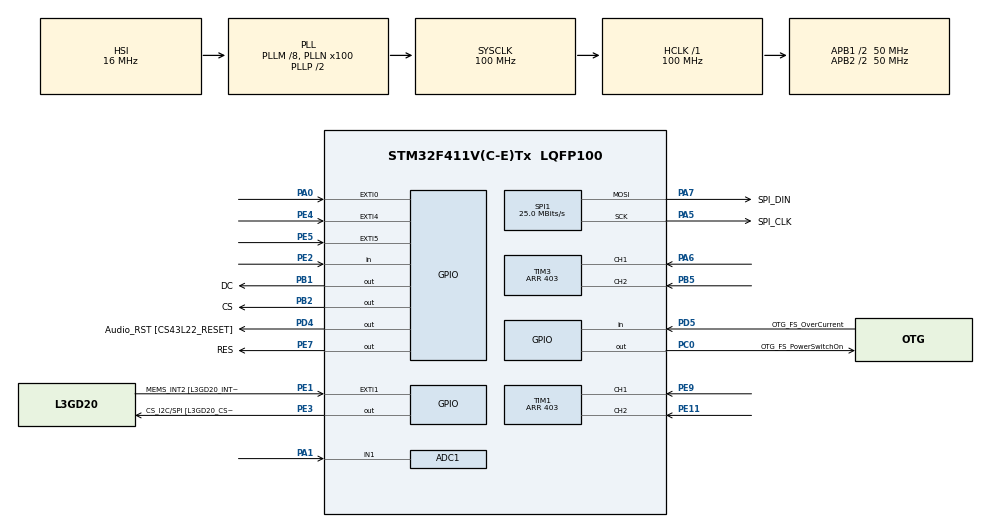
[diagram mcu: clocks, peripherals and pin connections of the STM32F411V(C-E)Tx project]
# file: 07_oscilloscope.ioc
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ADC1.Channel-0\#ChannelRegularConversion=ADC_CHANNEL_1
ADC1.ContinuousConvMode=ENABLE
ADC1.NbrOfConversionFlag=1
ADC1.Rank-0\#ChannelRegularConversion=1
ADC1.Resolution=ADC_RESOLUTION_8B
ADC1.SamplingTime-0\#ChannelRegularConversion=ADC_SAMPLETIME_112CYCLES
ADC1.ScanConvMode=DISABLE
ADC1.master=1
Mcu.Family=STM32F4
Mcu.Name=STM32F411V(C-E)Tx
Mcu.Package=LQFP100
NVIC.ADC_IRQn=true\:0\:0\:false\:false\:true\:true\:true\:true
NVIC.PriorityGroup=NVIC_PRIORITYGROUP_0
PA0-WKUP.GPIO_ModeDefaultEXTI=GPIO_MODE_EVT_RISING
PA0-WKUP.Signal=GPXTI0
PA1.Signal=ADCx_IN1
PA10.GPIO_Label=OTG_FS_ID
PA10.Signal=USB_OTG_FS_ID
PA11.GPIO_Label=OTG_FS_DM
PA11.Signal=USB_OTG_FS_DM
PA12.GPIO_Label=OTG_FS_DP
PA12.Signal=USB_OTG_FS_DP
PA13.GPIO_Label=SWDIO
PA13.Signal=SYS_JTMS-SWDIO
PA14.GPIO_Label=SWCLK
PA14.Signal=SYS_JTCK-SWCLK
PA5.GPIO_Label=SPI_CLK
PA5.Mode=TX_Only_Simplex_Unidirect_Master
PA5.Signal=SPI1_SCK
PA6.Signal=S_TIM3_CH1
PA7.GPIO_Label=SPI_DIN
PA7.Mode=TX_Only_Simplex_Unidirect_Master
PA7.Signal=SPI1_MOSI
PA9.GPIO_Label=VBUS_FS
PA9.Signal=USB_OTG_FS_VBUS
PB1.GPIO_Label=DC
PB1.Signal=GPIO_Output
PB10.GPIO_Label=CLK_IN [MP45DT02_CLK]
PB10.Signal=I2S2_CK
PB12.Signal=I2S2_WS
PB2.GPIO_Label=CS
PB2.Signal=GPIO_Output
PB3.GPIO_Label=SWO
PB3.Signal=SYS_JTDO-SWO
PB5.Signal=S_TIM3_CH2
PB6.GPIO_Label=Audio_SCL [CS43L22_SCL]
PB6.GPIO_Mode=GPIO_MODE_AF_OD
PB6.GPIO_PuPd=GPIO_NOPULL
PB6.GPIO_Speed=GPIO_SPEED_FREQ_LOW
PB6.Signal=I2C1_SCL
PB9.GPIO_Label=Audio_SDA [CS43L22_SDA]
PB9.GPIO_Mode=GPIO_MODE_AF_OD
PB9.GPIO_PuPd=GPIO_NOPULL
PB9.GPIO_Speed=GPIO_SPEED_FREQ_LOW
PB9.Signal=I2C1_SDA
PC0.GPIO_Label=OTG_FS_PowerSwitchOn
PC0.PinState=GPIO_PIN_SET
PC0.Signal=GPIO_Output
PC10.GPIO_Label=I2S3_SCK [CS43L22_SCLK]
PC10.GPIO_Mode=GPIO_MODE_AF_PP
PC10.GPIO_PuPd=GPIO_NOPULL
PC10.GPIO_Speed=GPIO_SPEED_FREQ_LOW
PC10.Signal=I2S3_CK
PC12.GPIO_Label=I2S3_SD [CS43L22_SDIN]
PC12.GPIO_Mode=GPIO_MODE_AF_PP
PC12.GPIO_PuPd=GPIO_NOPULL
PC12.GPIO_Speed=GPIO_SPEED_FREQ_LOW
PC12.Signal=I2S3_SD
PC14-OSC32_IN.GPIO_Label=PC14-OSC32_IN
PC14-OSC32_IN.Signal=RCC_OSC32_IN
PC15-OSC32_OUT.GPIO_Label=PC15-OSC32_OUT
PC15-OSC32_OUT.Signal=RCC_OSC32_OUT
PC3.GPIO_Label=PDM_OUT [MP45DT02_DOUT]
PC3.Signal=I2S2_SD
PC7.GPIO_Label=I2S3_MCK [CS43L22_MCLK]
PC7.GPIO_Mode=GPIO_MODE_AF_PP
PC7.GPIO_PuPd=GPIO_NOPULL
PC7.GPIO_Speed=GPIO_SPEED_FREQ_LOW
PC7.Signal=I2S3_MCK
PD4.GPIO_Label=Audio_RST [CS43L22_RESET]
PD4.Signal=GPIO_Output
PD5.GPIO_Label=OTG_FS_OverCurrent
PD5.Signal=GPIO_Input
PE1.GPIO_Label=MEMS_INT2 [L3GD20_INT2]
PE1.GPIO_ModeDefaultEXTI=GPIO_MODE_EVT_RISING
PE1.Signal=GPXTI1
PE11.Signal=S_TIM1_CH2
PE2.Signal=GPIO_Input
PE3.GPIO_Label=CS_I2C/SPI [L3GD20_CS_I2C/SPI]
PE3.Signal=GPIO_Output
PE4.GPIO_ModeDefaultEXTI=GPIO_MODE_EVT_RISING
PE4.Signal=GPXTI4
PE5.GPIO_ModeDefaultEXTI=GPIO_MODE_EVT_RISING
PE5.Signal=GPXTI5
PE7.GPIO_Label=RES
PE7.Signal=GPIO_Output
PE9.Signal=S_TIM1_CH1
PH0\ -\ OSC_IN.GPIO_Label=PH0-OSC_IN
PH0\ -\ OSC_IN.Signal=RCC_OSC_IN
PH1\ -\ OSC_OUT.GPIO_Label=PH1-OSC_OUT
PH1\ -\ OSC_OUT.Signal=RCC_OSC_OUT
ProjectManager.HeapSize=0x200
ProjectManager.StackSize=0x400
ProjectManager.TargetToolchain=STM32CubeIDE
RCC.48MHZClocksFreq_Value=25000000
RCC.AHBFreq_Value=100000000
RCC.APB1CLKDivider=RCC_HCLK_DIV2
RCC.APB1Freq_Value=50000000
RCC.APB1TimFreq_Value=100000000
RCC.APB2CLKDivider=RCC_HCLK_DIV2
RCC.APB2Freq_Value=50000000
RCC.APB2TimFreq_Value=100000000
RCC.CortexFreq_Value=100000000
RCC.HCLKFreq_Value=100000000
RCC.HSE_VALUE=8000000
RCC.HSI_VALUE=16000000
RCC.LSE_VALUE=32768
RCC.PLLI2SM=5
RCC.PLLI2SN=200
RCC.PLLM=8
RCC.PLLN=100
RCC.PLLQ=8
RCC.SYSCLKFreq_VALUE=100000000
RCC.SYSCLKSource=RCC_SYSCLKSOURCE_PLLCLK
RCC.VCOOutputFreq_Value=200000000
SH.ADCx_IN1.0=ADC1_IN1,IN1
SH.S_TIM1_CH1.0=TIM1_CH1,Encoder_Interface
SH.S_TIM1_CH2.0=TIM1_CH2,Encoder_Interface
SH.S_TIM3_CH1.0=TIM3_CH1,Encoder_Interface
SH.S_TIM3_CH2.0=TIM3_CH2,Encoder_Interface
SPI1.CLKPhase=SPI_PHASE_2EDGE
SPI1.CLKPolarity=SPI_POLARITY_HIGH
SPI1.CalculateBaudRate=25.0 MBits/s
SPI1.Direction=SPI_DIRECTION_2LINES
SPI1.Mode=SPI_MODE_MASTER
SPI1.VirtualType=VM_MASTER
TIM1.EncoderMode=TIM_ENCODERMODE_TI12
TIM1.IC1Filter=15
TIM1.IC2Filter=15
TIM1.Period=403
TIM3.EncoderMode=TIM_ENCODERMODE_TI12
TIM3.IC1Filter=15
TIM3.IC2Filter=15
TIM3.Period=403
board=STM32F411E-DISCO

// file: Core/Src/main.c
/* USER CODE BEGIN Header */
/**
  ******************************************************************************
  * @file           : main.c
  * @brief          : Main program body
  ******************************************************************************
  * @attention
  *
  * Copyright (c) 2023 STMicroelectronics.
  * All rights reserved.
  *
  * This software is licensed under terms that can be found in the LICENSE file
  * in the root directory of this software component.
  * If no LICENSE file comes with this software, it is provided AS-IS.
  *
  ******************************************************************************
  */
/* USER CODE END Header */
#include "main.h"

/* USER CODE BEGIN Includes */
#include "SSD1331.h"
/* USER CODE END Includes */

/* USER CODE BEGIN PM */
#define BUFF_SIZE 256
/* USER CODE END PM */

ADC_HandleTypeDef hadc1;

SPI_HandleTypeDef hspi1;

TIM_HandleTypeDef htim1;
TIM_HandleTypeDef htim3;

/* USER CODE BEGIN PV */
//uint16_t read_data = 0;
//uint8_t msb_adc_data = 0;
//uint8_t lsb_adc_data = 0;

//zmienne dla adc
uint16_t adc_value = 0;
float voltage_conversion_num = 0;
float voltage_conversion_denum = 0;
float maximum_num = 0;
float maximum_denum = 0;
float nearest = 0.0;
const float supply_voltage = 3.0;
const float adc_resolution = 4095.0;
uint16_t i, j;
static uint8_t adc_counter = 0;
int d, adc_array_num[10], adc_array_denum[10], location;
uint8_t size = 10;

uint8_t read_data = 0;
bool buff_flag = false;

uint16_t read_data_buff[90]; //testowe
//uint16_t read_data_buff[256];
static volatile uint8_t buff_index = 0; //index dla bufora o pojemności 256 próbek
//static uint16_t buff_index = 0; //index dla bufora o pojemności 1024 próbek

float v_sensed = 0.0;

//const float supply_voltage = 3.0; // [volts]
//const float adc_resolution = 4096.0;

volatile uint16_t first_enc_pulse_count; // licznik impulsow
volatile uint16_t first_enc_positions; // licznik przekreconych pozycji

volatile uint16_t second_enc_pulse_count; // licznik impulsow
volatile uint16_t second_enc_positions; // licznik przekreconych pozycji

/* USER CODE END PV */

void SystemClock_Config(void);
static void MX_GPIO_Init(void);
static void MX_SPI1_Init(void);
static void MX_ADC1_Init(void);
static void MX_TIM1_Init(void);
static void MX_TIM3_Init(void);
/* USER CODE BEGIN PFP */
void HAL_ADC_ConvCpltCallback(ADC_HandleTypeDef* hadc){
	if(buff_flag == false){
		//ssd1331_clear_screen(BLACK);
		read_data = HAL_ADC_GetValue(&hadc1); // Pobranie zmierzonej wartosci

		read_data_buff[buff_index] = read_data;
		//ssd1331_draw_point((uint8_t)(buff_index/10), (uint8_t)(read_data_buff[buff_index])/10, YELLOW);

		//ssd1331_draw_point(buff_index, read_data_buff[buff_index], YELLOW);

		buff_index++;

		//warunek na dole raczej niepotrzebny, bo zmienna po 255 się sama przepełnia i zaczyna być zerem
		if(buff_index > 90-1)
		{
			//buff_index = 0;
			//ssd1331_clear_screen(BLACK);
			buff_flag = true;
		}
	}
}
/*void HAL_ADC_ConvCpltCallback(ADC_HandleTypeDef* hadc){
	if(buff_flag == false){
		//ssd1331_clear_screen(BLACK);
		read_data = HAL_ADC_GetValue(&hadc1); // Pobranie zmierzonej wartosci

		read_data_buff[buff_index] = read_data;
		//ssd1331_draw_point((uint8_t)(buff_index/10), (uint8_t)(read_data_buff[buff_index])/10, YELLOW);

		//ssd1331_draw_point(buff_index, read_data_buff[buff_index], YELLOW);

		buff_index++;

		//warunek na dole raczej niepotrzebny, bo zmienna po 255 się sama przepełnia i zaczyna być zerem
		if(buff_index >= 255)
		{
			//buff_index = 0;
			ssd1331_clear_screen(BLACK);
			buff_flag = true;
		}
	}

	//ssd1331_display_num(0, 0, read_data, 3, FONT_1608, GREEN);

	//ssd1331_display_num(0, 0, 12, 40, 40, GREEN);
	//ssd1331_display_num(0, 0, read_data, 40, 40, GREEN);
	//ssd1331_display_num(uint8_t chXpos, uint8_t chYpos, uint32_t chNum, uint8_t chLen, uint8_t chSize, uint16_t hwColor)
	/*for(int i = 0; i<=BUFF_SIZE; i++){
		if(i>=BUFF_SIZE){
			i = 0;
		}
		read_data_buff[i] = read_data;
		ssd1331_draw_point(i, (uint8_t)(read_data_buff[i])/10, YELLOW);
	}*/
	//uint8_t msb_adc_data = (read_data >> 8);
	//uint8_t lsb_adc_data = read_data;
	//v_sensed = (supply_voltage*read_data)/(adc_resolution-1); // Przeliczenie wartosci zmierzonej na napiecie
	//ssd1331_draw_point(30, read_data, YELLOW);
	//Temperature = ((Vsense-V25)/Avg_slope)+25; // Obliczenie temperatury
//}

/* USER CODE END PFP */

int main(void)
{

  /* MCU Configuration--------------------------------------------------------*/

  /* Reset of all peripherals, Initializes the Flash interface and the Systick. */
  HAL_Init();

  /* Configure the system clock */
  SystemClock_Config();

  /* Initialize all configured peripherals */
  MX_GPIO_Init();
  MX_SPI1_Init();
  MX_ADC1_Init();
  MX_TIM1_Init();
  MX_TIM3_Init();
  /* USER CODE BEGIN 2 */
  HAL_ADC_Start_IT(&hadc1);
  //HAL_ADC_Start(&hadc1);

  HAL_TIM_Encoder_Start(&htim1, TIM_CHANNEL_ALL);
  HAL_TIM_Encoder_Start(&htim3, TIM_CHANNEL_ALL);

	ssd1331_init();
	ssd1331_clear_screen(BLACK);

	//narysowanie siatki
	/*for(int i = 0; i<10; i++){
		ssd1331_draw_v_line(i*10, 0, 60, GREY);
	}

	for(int i = 0; i<10; i++){
		ssd1331_draw_h_line(0, i*10, 90, GREY);
	}*/

	//ssd1331_display_num(0, 0, 22, 2, FONT_1608, GREEN);
	//ssd1331_display_num(0, 0, uint32_t chNum, uint8_t chLen, uint8_t chSize, uint16_t hwColor)

	//ssd1331_draw_h_line(uint8_t chXpos, uint8_t chYpos, uint8_t chWidth, uint16_t hwColor);
  /* USER CODE END 2 */

  /* Infinite loop */
  /* USER CODE BEGIN WHILE */
  while (1)
  {
	  if(buff_flag == true){
		  for(int i = 0; i<89; i++){
		  		ssd1331_draw_point(i, read_data_buff[i]/3 , YELLOW);
		  		//ssd1331_draw_point(i, 30 , YELLOW);
		  	}
		  HAL_Delay(500);
		  ssd1331_clear_screen(BLACK);
		  buff_flag = false;
	  }

	  /*if(buff_flag == true){
		  for(int i = 0; i<=BUFF_SIZE; i++){
		  		if(i>=BUFF_SIZE){
		  			i = 0;
		  		}
		  		ssd1331_draw_point(i, read_data_buff[i] -200 , YELLOW);
		  		//ssd1331_draw_point(i, 30 , YELLOW);
		  	}
		  //ssd1331_clear_screen(BLACK);
		  buff_flag = false;
	  }*/

	  //ssd1331_draw_point(0, 30, YELLOW);

	  /*
	  first_enc_pulse_count = TIM1->CNT; // przepisanie wartosci z rejestru timera
	  first_enc_positions = first_enc_pulse_count/4; // zeskalowanie impulsow do liczby stabilnych pozycji walu enkodera

	  second_enc_pulse_count = TIM3->CNT; // przepisanie wartosci z rejestru timera
	  second_enc_positions = second_enc_pulse_count/4; // zeskalowanie impulsow do liczby stabilnych pozycji walu enkodera
	  */
    /* USER CODE END WHILE */

  }
}

void SystemClock_Config(void)
{
  RCC_OscInitTypeDef RCC_OscInitStruct = {0};
  RCC_ClkInitTypeDef RCC_ClkInitStruct = {0};

  /** Configure the main internal regulator output voltage
  */
  __HAL_RCC_PWR_CLK_ENABLE();
  __HAL_PWR_VOLTAGESCALING_CONFIG(PWR_REGULATOR_VOLTAGE_SCALE1);

  /** Initializes the RCC Oscillators according to the specified parameters
  * in the RCC_OscInitTypeDef structure.
  */
  RCC_OscInitStruct.OscillatorType = RCC_OSCILLATORTYPE_HSI;
  RCC_OscInitStruct.HSIState = RCC_HSI_ON;
  RCC_OscInitStruct.HSICalibrationValue = RCC_HSICALIBRATION_DEFAULT;
  RCC_OscInitStruct.PLL.PLLState = RCC_PLL_ON;
  RCC_OscInitStruct.PLL.PLLSource = RCC_PLLSOURCE_HSI;
  RCC_OscInitStruct.PLL.PLLM = 8;
  RCC_OscInitStruct.PLL.PLLN = 100;
  RCC_OscInitStruct.PLL.PLLP = RCC_PLLP_DIV2;
  RCC_OscInitStruct.PLL.PLLQ = 8;
  if (HAL_RCC_OscConfig(&RCC_OscInitStruct) != HAL_OK)
  {
    Error_Handler();
  }

  /** Initializes the CPU, AHB and APB buses clocks
  */
  RCC_ClkInitStruct.ClockType = RCC_CLOCKTYPE_HCLK|RCC_CLOCKTYPE_SYSCLK
                              |RCC_CLOCKTYPE_PCLK1|RCC_CLOCKTYPE_PCLK2;
  RCC_ClkInitStruct.SYSCLKSource = RCC_SYSCLKSOURCE_PLLCLK;
  RCC_ClkInitStruct.AHBCLKDivider = RCC_SYSCLK_DIV1;
  RCC_ClkInitStruct.APB1CLKDivider = RCC_HCLK_DIV2;
  RCC_ClkInitStruct.APB2CLKDivider = RCC_HCLK_DIV2;

  if (HAL_RCC_ClockConfig(&RCC_ClkInitStruct, FLASH_LATENCY_3) != HAL_OK)
  {
    Error_Handler();
  }
}

static void MX_ADC1_Init(void)
{

  ADC_ChannelConfTypeDef sConfig = {0};

  /** Configure the global features of the ADC (Clock, Resolution, Data Alignment and number of conversion)
  */
  hadc1.Instance = ADC1;
  hadc1.Init.ClockPrescaler = ADC_CLOCK_SYNC_PCLK_DIV2;
  hadc1.Init.Resolution = ADC_RESOLUTION_8B;
  hadc1.Init.ScanConvMode = DISABLE;
  hadc1.Init.ContinuousConvMode = ENABLE;
  hadc1.Init.DiscontinuousConvMode = DISABLE;
  hadc1.Init.ExternalTrigConvEdge = ADC_EXTERNALTRIGCONVEDGE_NONE;
  hadc1.Init.ExternalTrigConv = ADC_SOFTWARE_START;
  hadc1.Init.DataAlign = ADC_DATAALIGN_RIGHT;
  hadc1.Init.NbrOfConversion = 1;
  hadc1.Init.DMAContinuousRequests = DISABLE;
  hadc1.Init.EOCSelection = ADC_EOC_SINGLE_CONV;
  if (HAL_ADC_Init(&hadc1) != HAL_OK)
  {
    Error_Handler();
  }

  /** Configure for the selected ADC regular channel its corresponding rank in the sequencer and its sample time.
  */
  sConfig.Channel = ADC_CHANNEL_1;
  sConfig.Rank = 1;
  sConfig.SamplingTime = ADC_SAMPLETIME_112CYCLES;
  if (HAL_ADC_ConfigChannel(&hadc1, &sConfig) != HAL_OK)
  {
    Error_Handler();
  }

}

static void MX_SPI1_Init(void)
{

  /* SPI1 parameter configuration*/
  hspi1.Instance = SPI1;
  hspi1.Init.Mode = SPI_MODE_MASTER;
  hspi1.Init.Direction = SPI_DIRECTION_2LINES;
  hspi1.Init.DataSize = SPI_DATASIZE_8BIT;
  hspi1.Init.CLKPolarity = SPI_POLARITY_HIGH;
  hspi1.Init.CLKPhase = SPI_PHASE_2EDGE;
  hspi1.Init.NSS = SPI_NSS_SOFT;
  hspi1.Init.BaudRatePrescaler = SPI_BAUDRATEPRESCALER_2;
  hspi1.Init.FirstBit = SPI_FIRSTBIT_MSB;
  hspi1.Init.TIMode = SPI_TIMODE_DISABLE;
  hspi1.Init.CRCCalculation = SPI_CRCCALCULATION_DISABLE;
  hspi1.Init.CRCPolynomial = 10;
  if (HAL_SPI_Init(&hspi1) != HAL_OK)
  {
    Error_Handler();
  }

}

static void MX_TIM1_Init(void)
{

  TIM_Encoder_InitTypeDef sConfig = {0};
  TIM_MasterConfigTypeDef sMasterConfig = {0};

  htim1.Instance = TIM1;
  htim1.Init.Prescaler = 0;
  htim1.Init.CounterMode = TIM_COUNTERMODE_UP;
  htim1.Init.Period = 403;
  htim1.Init.ClockDivision = TIM_CLOCKDIVISION_DIV1;
  htim1.Init.RepetitionCounter = 0;
  htim1.Init.AutoReloadPreload = TIM_AUTORELOAD_PRELOAD_DISABLE;
  sConfig.EncoderMode = TIM_ENCODERMODE_TI12;
  sConfig.IC1Polarity = TIM_ICPOLARITY_RISING;
  sConfig.IC1Selection = TIM_ICSELECTION_DIRECTTI;
  sConfig.IC1Prescaler = TIM_ICPSC_DIV1;
  sConfig.IC1Filter = 15;
  sConfig.IC2Polarity = TIM_ICPOLARITY_RISING;
  sConfig.IC2Selection = TIM_ICSELECTION_DIRECTTI;
  sConfig.IC2Prescaler = TIM_ICPSC_DIV1;
  sConfig.IC2Filter = 15;
  if (HAL_TIM_Encoder_Init(&htim1, &sConfig) != HAL_OK)
  {
    Error_Handler();
  }
  sMasterConfig.MasterOutputTrigger = TIM_TRGO_RESET;
  sMasterConfig.MasterSlaveMode = TIM_MASTERSLAVEMODE_DISABLE;
  if (HAL_TIMEx_MasterConfigSynchronization(&htim1, &sMasterConfig) != HAL_OK)
  {
    Error_Handler();
  }

}

static void MX_TIM3_Init(void)
{

  TIM_Encoder_InitTypeDef sConfig = {0};
  TIM_MasterConfigTypeDef sMasterConfig = {0};

  htim3.Instance = TIM3;
  htim3.Init.Prescaler = 0;
  htim3.Init.CounterMode = TIM_COUNTERMODE_UP;
  htim3.Init.Period = 403;
  htim3.Init.ClockDivision = TIM_CLOCKDIVISION_DIV1;
  htim3.Init.AutoReloadPreload = TIM_AUTORELOAD_PRELOAD_DISABLE;
  sConfig.EncoderMode = TIM_ENCODERMODE_TI12;
  sConfig.IC1Polarity = TIM_ICPOLARITY_RISING;
  sConfig.IC1Selection = TIM_ICSELECTION_DIRECTTI;
  sConfig.IC1Prescaler = TIM_ICPSC_DIV1;
  sConfig.IC1Filter = 15;
  sConfig.IC2Polarity = TIM_ICPOLARITY_RISING;
  sConfig.IC2Selection = TIM_ICSELECTION_DIRECTTI;
  sConfig.IC2Prescaler = TIM_ICPSC_DIV1;
  sConfig.IC2Filter = 15;
  if (HAL_TIM_Encoder_Init(&htim3, &sConfig) != HAL_OK)
  {
    Error_Handler();
  }
  sMasterConfig.MasterOutputTrigger = TIM_TRGO_RESET;
  sMasterConfig.MasterSlaveMode = TIM_MASTERSLAVEMODE_DISABLE;
  if (HAL_TIMEx_MasterConfigSynchronization(&htim3, &sMasterConfig) != HAL_OK)
  {
    Error_Handler();
  }

}

static void MX_GPIO_Init(void)
{
  GPIO_InitTypeDef GPIO_InitStruct = {0};

  /* GPIO Ports Clock Enable */
  __HAL_RCC_GPIOE_CLK_ENABLE();
  __HAL_RCC_GPIOC_CLK_ENABLE();
  __HAL_RCC_GPIOH_CLK_ENABLE();
  __HAL_RCC_GPIOA_CLK_ENABLE();
  __HAL_RCC_GPIOB_CLK_ENABLE();
  __HAL_RCC_GPIOD_CLK_ENABLE();

  /*Configure GPIO pin Output Level */
  HAL_GPIO_WritePin(GPIOE, CS_I2C_SPI_Pin|RES_Pin, GPIO_PIN_RESET);

  /*Configure GPIO pin Output Level */
  HAL_GPIO_WritePin(OTG_FS_PowerSwitchOn_GPIO_Port, OTG_FS_PowerSwitchOn_Pin, GPIO_PIN_SET);

  /*Configure GPIO pin Output Level */
  HAL_GPIO_WritePin(GPIOB, DC_Pin|CS_Pin, GPIO_PIN_RESET);

  /*Configure GPIO pin Output Level */
  HAL_GPIO_WritePin(Audio_RST_GPIO_Port, Audio_RST_Pin, GPIO_PIN_RESET);

  /*Configure GPIO pin : PE2 */
  GPIO_InitStruct.Pin = GPIO_PIN_2;
  GPIO_InitStruct.Mode = GPIO_MODE_INPUT;
  GPIO_InitStruct.Pull = GPIO_NOPULL;
  HAL_GPIO_Init(GPIOE, &GPIO_InitStruct);

  /*Configure GPIO pins : CS_I2C_SPI_Pin RES_Pin */
  GPIO_InitStruct.Pin = CS_I2C_SPI_Pin|RES_Pin;
  GPIO_InitStruct.Mode = GPIO_MODE_OUTPUT_PP;
  GPIO_InitStruct.Pull = GPIO_NOPULL;
  GPIO_InitStruct.Speed = GPIO_SPEED_FREQ_LOW;
  HAL_GPIO_Init(GPIOE, &GPIO_InitStruct);

  /*Configure GPIO pins : PE4 PE5 MEMS_INT2_Pin */
  GPIO_InitStruct.Pin = GPIO_PIN_4|GPIO_PIN_5|MEMS_INT2_Pin;
  GPIO_InitStruct.Mode = GPIO_MODE_EVT_RISING;
  GPIO_InitStruct.Pull = GPIO_NOPULL;
  HAL_GPIO_Init(GPIOE, &GPIO_InitStruct);

  /*Configure GPIO pin : OTG_FS_PowerSwitchOn_Pin */
  GPIO_InitStruct.Pin = OTG_FS_PowerSwitchOn_Pin;
  GPIO_InitStruct.Mode = GPIO_MODE_OUTPUT_PP;
  GPIO_InitStruct.Pull = GPIO_NOPULL;
  GPIO_InitStruct.Speed = GPIO_SPEED_FREQ_LOW;
  HAL_GPIO_Init(OTG_FS_PowerSwitchOn_GPIO_Port, &GPIO_InitStruct);

  /*Configure GPIO pin : PDM_OUT_Pin */
  GPIO_InitStruct.Pin = PDM_OUT_Pin;
  GPIO_InitStruct.Mode = GPIO_MODE_AF_PP;
  GPIO_InitStruct.Pull = GPIO_NOPULL;
  GPIO_InitStruct.Speed = GPIO_SPEED_FREQ_LOW;
  GPIO_InitStruct.Alternate = GPIO_AF5_SPI2;
  HAL_GPIO_Init(PDM_OUT_GPIO_Port, &GPIO_InitStruct);

  /*Configure GPIO pin : PA0 */
  GPIO_InitStruct.Pin = GPIO_PIN_0;
  GPIO_InitStruct.Mode = GPIO_MODE_EVT_RISING;
  GPIO_InitStruct.Pull = GPIO_NOPULL;
  HAL_GPIO_Init(GPIOA, &GPIO_InitStruct);

  /*Configure GPIO pins : DC_Pin CS_Pin */
  GPIO_InitStruct.Pin = DC_Pin|CS_Pin;
  GPIO_InitStruct.Mode = GPIO_MODE_OUTPUT_PP;
  GPIO_InitStruct.Pull = GPIO_NOPULL;
  GPIO_InitStruct.Speed = GPIO_SPEED_FREQ_LOW;
  HAL_GPIO_Init(GPIOB, &GPIO_InitStruct);

  /*Configure GPIO pins : CLK_IN_Pin PB12 */
  GPIO_InitStruct.Pin = CLK_IN_Pin|GPIO_PIN_12;
  GPIO_InitStruct.Mode = GPIO_MODE_AF_PP;
  GPIO_InitStruct.Pull = GPIO_NOPULL;
  GPIO_InitStruct.Speed = GPIO_SPEED_FREQ_LOW;
  GPIO_InitStruct.Alternate = GPIO_AF5_SPI2;
  HAL_GPIO_Init(GPIOB, &GPIO_InitStruct);

  /*Configure GPIO pins : I2S3_MCK_Pin I2S3_SCK_Pin I2S3_SD_Pin */
  GPIO_InitStruct.Pin = I2S3_MCK_Pin|I2S3_SCK_Pin|I2S3_SD_Pin;
  GPIO_InitStruct.Mode = GPIO_MODE_AF_PP;
  GPIO_InitStruct.Pull = GPIO_NOPULL;
  GPIO_InitStruct.Speed = GPIO_SPEED_FREQ_LOW;
  GPIO_InitStruct.Alternate = GPIO_AF6_SPI3;
  HAL_GPIO_Init(GPIOC, &GPIO_InitStruct);

  /*Configure GPIO pin : VBUS_FS_Pin */
  GPIO_InitStruct.Pin = VBUS_FS_Pin;
  GPIO_InitStruct.Mode = GPIO_MODE_INPUT;
  GPIO_InitStruct.Pull = GPIO_NOPULL;
  HAL_GPIO_Init(VBUS_FS_GPIO_Port, &GPIO_InitStruct);

  /*Configure GPIO pins : OTG_FS_ID_Pin OTG_FS_DM_Pin OTG_FS_DP_Pin */
  GPIO_InitStruct.Pin = OTG_FS_ID_Pin|OTG_FS_DM_Pin|OTG_FS_DP_Pin;
  GPIO_InitStruct.Mode = GPIO_MODE_AF_PP;
  GPIO_InitStruct.Pull = GPIO_NOPULL;
  GPIO_InitStruct.Speed = GPIO_SPEED_FREQ_VERY_HIGH;
  GPIO_InitStruct.Alternate = GPIO_AF10_OTG_FS;
  HAL_GPIO_Init(GPIOA, &GPIO_InitStruct);

  /*Configure GPIO pin : Audio_RST_Pin */
  GPIO_InitStruct.Pin = Audio_RST_Pin;
  GPIO_InitStruct.Mode = GPIO_MODE_OUTPUT_PP;
  GPIO_InitStruct.Pull = GPIO_NOPULL;
  GPIO_InitStruct.Speed = GPIO_SPEED_FREQ_LOW;
  HAL_GPIO_Init(Audio_RST_GPIO_Port, &GPIO_InitStruct);

  /*Configure GPIO pin : OTG_FS_OverCurrent_Pin */
  GPIO_InitStruct.Pin = OTG_FS_OverCurrent_Pin;
  GPIO_InitStruct.Mode = GPIO_MODE_INPUT;
  GPIO_InitStruct.Pull = GPIO_NOPULL;
  HAL_GPIO_Init(OTG_FS_OverCurrent_GPIO_Port, &GPIO_InitStruct);

  /*Configure GPIO pins : Audio_SCL_Pin Audio_SDA_Pin */
  GPIO_InitStruct.Pin = Audio_SCL_Pin|Audio_SDA_Pin;
  GPIO_InitStruct.Mode = GPIO_MODE_AF_OD;
  GPIO_InitStruct.Pull = GPIO_NOPULL;
  GPIO_InitStruct.Speed = GPIO_SPEED_FREQ_LOW;
  GPIO_InitStruct.Alternate = GPIO_AF4_I2C1;
  HAL_GPIO_Init(GPIOB, &GPIO_InitStruct);

}

void Error_Handler(void)
{
  __disable_irq();
  while (1)
  {
  }
}
